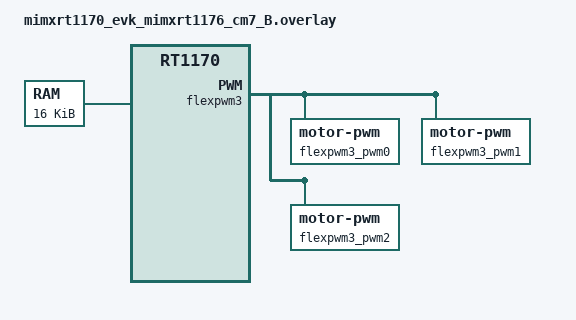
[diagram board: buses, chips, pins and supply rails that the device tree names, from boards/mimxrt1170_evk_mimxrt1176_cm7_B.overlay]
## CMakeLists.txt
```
#-------------------------------------------------------------------------------
# Zephyr Example Application
#
# Copyright (c) 2021 Nordic Semiconductor ASA
# SPDX-License-Identifier: Apache-2.0

cmake_minimum_required(VERSION 3.13.1)

set(REMOTE_ZEPHYR_DIR ${CMAKE_CURRENT_BINARY_DIR}/../MIMXRT1176_CM4/zephyr)

find_package(Zephyr REQUIRED HINTS $ENV{ZEPHYR_BASE})

project(app LANGUAGES C CXX)


message(STATUS "${BOARD} compile as Master in this sample")

if(CONFIG_INCLUDE_REMOTE_DIR)
  target_include_directories(zephyr_interface
    INTERFACE ${REMOTE_ZEPHYR_DIR}/include/public)
endif()

target_sources(app PRIVATE src/main.c
                      src/pwm_control.c)

target_include_directories(app PRIVATE ${CMAKE_CURRENT_SOURCE_DIR})

zephyr_include_directories(include)
```

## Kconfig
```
# Copyright (c) 2021 Nordic Semiconductor ASA
# SPDX-License-Identifier: Apache-2.0
#
# This file is the application Kconfig entry point. All application Kconfig
# options can be defined here or included via other application Kconfig files.
# You can browse these options using the west targets menuconfig (terminal) or
# guiconfig (GUI).

menu "Zephyr"
source "Kconfig.zephyr"
endmenu

config INCLUDE_REMOTE_DIR
	bool "Include remote core header directory"
	help
	  Include remote build header files. Can be used if primary image
	  needs to be aware of size or base address of secondary image.

module = APP
module-str = APP
source "subsys/logging/Kconfig.template.log_config"
```

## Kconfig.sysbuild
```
# Copyright 2022-2023 NXP
#
# SPDX-License-Identifier: Apache-2.0

source "share/sysbuild/Kconfig"

config MIMXRT1176_CM4_REMOTE_BOARD
string
	default "mimxrt1170_evk/mimxrt1176/cm4" if $(BOARD) = "mimxrt1170_evk"
	default "phoenix_rt1176/mimxrt1176/cm4" if $(BOARD) = "phoenix_rt1176"
```

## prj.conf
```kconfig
# Copyright (c) 2021 Nordic Semiconductor ASA
# SPDX-License-Identifier: Apache-2.0
#
# This file contains selected Kconfig options for the application.


CONFIG_PWM=y
CONFIG_PWM_MCUX=y
CONFIG_MOTOR_PWM=y
CONFIG_CUSTOM_PWM=y
```

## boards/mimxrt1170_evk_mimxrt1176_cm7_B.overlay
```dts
/*
 * Copyright 2023 NXP
 *
 * SPDX-License-Identifier: Apache-2.0
 */

#include <zephyr/dt-bindings/memory-attr/memory-attr-arm.h>
#include <nxp/nxp_rt1170.dtsi>

/ {
	chosen {
		zephyr,ipc_shm = &ocram2_overlay;
	};

	/* OpenAMP fails with full 512K OCRAM2 memory region as shared memory.
	 * Define a subset of the OCRAM2 region for demo to use
	 * Note that shared memory must have specific MPU attributes set.
	 */
	ocram2_overlay: memory@202c0000{
		compatible = "zephyr,memory-region", "mmio-sram";
		reg = <0x202c0000 DT_SIZE_K(16)>;
		zephyr,memory-region="OCRAM2_OVERLAY";
		zephyr,memory-attr = <( DT_MEM_ARM(ATTR_MPU_IO) )>;
	};

		soc {
		flexpwm3: flexpwm@40194000 {
			status = "okay";
			compatible = "nxp,flexpwm";
			flexpwm3_pwm0 {
				compatible = "motor-pwm";
				index = <0>;
				run-in-debug;
				status = "okay";
				pinctrl-0 = <&pinmux_flexpwm3>;
				pinctrl-names = "default";
				nxp,reload = "full-cycle";
				mode = "signed-center-aligned";
				nxp,prescaler = < 4 >;
				#pwm-cells = < 0x3 >;
				dead-time = <156>;
				pair-operation = <1>;
				clock-source = <0>;
				init-source = <0>;
				pwm-freq = <1000>;
				clock-freq = <240000000>;
			};

			flexpwm3_pwm1 {
				compatible = "motor-pwm";
				index = <1>;
				run-in-debug;
				status = "okay";
				pinctrl-0 = <&pinmux_flexpwm3>;
				pinctrl-names = "default";
				nxp,reload = "full-cycle";
				mode = "signed-center-aligned";
				nxp,prescaler = <2>;
				#pwm-cells = < 0x3 >;
				dead-time = <156>;
				pair-operation = <1>;
				clock-source = <2>;
				init-source = <2>;
				pwm-freq = <1000>;
				clock-freq = <60000000>;
			};

			flexpwm3_pwm2 {
				compatible = "motor-pwm";
				index = <2>;
				run-in-debug;
				status = "okay";
				pinctrl-0 = <&pinmux_flexpwm3>;
				pinctrl-names = "default";
				nxp,reload = "immediate";
				mode = "signed-center-aligned";
				nxp,prescaler = < 2 >;
				#pwm-cells = < 0x3 >;
				dead-time = <156>;
				pair-operation = <1>;
				clock-source = <2>;
				init-source = <2>;
				pwm-freq = <1000>;
				clock-freq = <60000000>;
			};
		};
	};
};


&pinctrl {

	pinmux_flexpwm3: pinmux_flexpwm3 {
		group0 {
			pinmux = <&iomuxc_gpio_emc_b2_00_flexpwm3_pwm0_a>,
					<&iomuxc_gpio_emc_b2_01_flexpwm3_pwm0_b>,
					<&iomuxc_gpio_emc_b2_02_flexpwm3_pwm1_a>,
					<&iomuxc_gpio_emc_b2_04_flexpwm3_pwm2_a>;
			drive-strength = "high";
			bias-pull-up;
			slew-rate = "fast";
		};
	};
};
```

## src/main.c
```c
/*
 * Copyright (c) 2021 Nordic Semiconductor ASA
 * SPDX-License-Identifier: Apache-2.0
 */

#include <zephyr/kernel.h>
#include <zephyr/logging/log.h>
#include <zephyr/devicetree.h>

#include "pwm_control.h"


LOG_MODULE_REGISTER(main, CONFIG_APP_LOG_LEVEL);

int main(void)
{

	printk("Hello world from %s\n", CONFIG_BOARD_TARGET);
	
	
	pwm_configure();

	while (1) {
		pwm_update_duty_cycle();
		k_sleep(K_MSEC(1000));
	}

	return 0;
}
```
